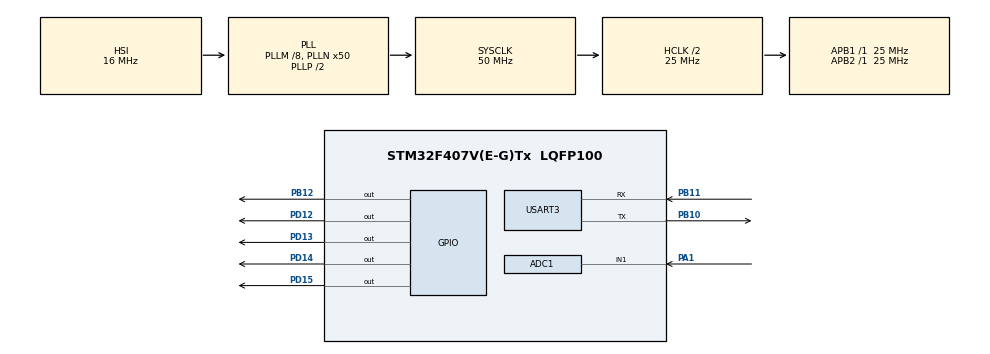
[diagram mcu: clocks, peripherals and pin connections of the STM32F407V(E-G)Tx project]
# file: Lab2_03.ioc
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ADC1.Channel-2\#ChannelRegularConversion=ADC_CHANNEL_1
ADC1.NbrOfConversionFlag=1
ADC1.Rank-2\#ChannelRegularConversion=1
ADC1.Resolution=ADC_RESOLUTION_10B
ADC1.SamplingTime-2\#ChannelRegularConversion=ADC_SAMPLETIME_3CYCLES
ADC1.master=1
Mcu.Family=STM32F4
Mcu.Name=STM32F407V(E-G)Tx
Mcu.Package=LQFP100
NVIC.PriorityGroup=NVIC_PRIORITYGROUP_4
PA1.Signal=ADCx_IN1
PB10.Mode=Asynchronous
PB10.Signal=USART3_TX
PB11.Mode=Asynchronous
PB11.Signal=USART3_RX
PB12.Signal=GPIO_Output
PD12.Signal=GPIO_Output
PD13.Signal=GPIO_Output
PD14.Signal=GPIO_Output
PD15.Signal=GPIO_Output
ProjectManager.HeapSize=0x200
ProjectManager.StackSize=0x400
ProjectManager.TargetToolchain=STM32CubeIDE
RCC.48MHZClocksFreq_Value=25000000
RCC.AHBCLKDivider=RCC_SYSCLK_DIV2
RCC.AHBFreq_Value=25000000
RCC.APB1Freq_Value=25000000
RCC.APB1TimFreq_Value=25000000
RCC.APB2Freq_Value=25000000
RCC.APB2TimFreq_Value=25000000
RCC.CortexFreq_Value=25000000
RCC.HCLKFreq_Value=25000000
RCC.HSE_VALUE=25000000
RCC.HSI_VALUE=16000000
RCC.LSE_VALUE=32768
RCC.PLLM=8
RCC.PLLN=50
RCC.SYSCLKFreq_VALUE=50000000
RCC.SYSCLKSource=RCC_SYSCLKSOURCE_PLLCLK
RCC.VCOOutputFreq_Value=100000000
SH.ADCx_IN1.0=ADC1_IN1,IN1
USART3.VirtualMode=VM_ASYNC
board=STM32F407G-DISC1

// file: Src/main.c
/* USER CODE BEGIN Header */
/**
  ******************************************************************************
  * @file           : main.c
  * @brief          : Main program body
  ******************************************************************************
  * @attention
  *
  * <h2><center>&copy; Copyright (c) 2019 STMicroelectronics.
  * All rights reserved.</center></h2>
  *
  * This software component is licensed by ST under BSD 3-Clause license,
  * the "License"; You may not use this file except in compliance with the
  * License. You may obtain a copy of the License at:
  *                        opensource.org/licenses/BSD-3-Clause
  *
  ******************************************************************************
  */
/* USER CODE END Header */

#include "main.h"

ADC_HandleTypeDef hadc1;

UART_HandleTypeDef huart3;

void SystemClock_Config(void);
static void MX_GPIO_Init(void);
static void MX_ADC1_Init(void);
static void MX_USART3_UART_Init(void);

int main(void)
{
  /* USER CODE BEGIN 1 */
	DWT_Init();

  /* USER CODE END 1 */

  /* MCU Configuration--------------------------------------------------------*/

  /* Reset of all peripherals, Initializes the Flash interface and the Systick. */
  HAL_Init();

  /* Configure the system clock */
  SystemClock_Config();

  /* Initialize all configured peripherals */
  MX_GPIO_Init();
  MX_ADC1_Init();
  MX_USART3_UART_Init();

  /* Infinite loop */
  /* USER CODE BEGIN WHILE */
  int value = -1;
  int size;
  char buf[30];
  long long iter = 0;
  int acc = 0;
  HAL_GPIO_WritePin(GPIOB, GPIO_PIN_12, SET);
  while (1)
  {
	  HAL_GPIO_WritePin(GPIOB, GPIO_PIN_12, RESET);
	  DWT_Delay(280);
	  HAL_ADC_Start(&hadc1);
	  if(HAL_ADC_PollForConversion(&hadc1, 1000) == HAL_OK){
		  value = HAL_ADC_GetValue(&hadc1);
		  acc += value;
		  iter++;
		  if(iter % 100 == 0){
			  acc /= 100;
			  size = sprintf(buf, "<%d>", value);
			  HAL_UART_Transmit(&huart3, buf, size, 1000);
			  acc = 0;
		  }
	  }
	  DWT_Delay(40);
	  HAL_GPIO_WritePin(GPIOB, GPIO_PIN_12, SET);
	  DWT_Delay(9680);

	  //HAL_GPIO_TogglePin(GPIOD, GPIO_PIN_14);
    /* USER CODE END WHILE */

  }
}

void SystemClock_Config(void)
{
  RCC_OscInitTypeDef RCC_OscInitStruct = {0};
  RCC_ClkInitTypeDef RCC_ClkInitStruct = {0};

  /** Configure the main internal regulator output voltage
  */
  __HAL_RCC_PWR_CLK_ENABLE();
  __HAL_PWR_VOLTAGESCALING_CONFIG(PWR_REGULATOR_VOLTAGE_SCALE1);
  /** Initializes the CPU, AHB and APB busses clocks
  */
  RCC_OscInitStruct.OscillatorType = RCC_OSCILLATORTYPE_HSI;
  RCC_OscInitStruct.HSIState = RCC_HSI_ON;
  RCC_OscInitStruct.HSICalibrationValue = RCC_HSICALIBRATION_DEFAULT;
  RCC_OscInitStruct.PLL.PLLState = RCC_PLL_ON;
  RCC_OscInitStruct.PLL.PLLSource = RCC_PLLSOURCE_HSI;
  RCC_OscInitStruct.PLL.PLLM = 8;
  RCC_OscInitStruct.PLL.PLLN = 50;
  RCC_OscInitStruct.PLL.PLLP = RCC_PLLP_DIV2;
  RCC_OscInitStruct.PLL.PLLQ = 4;
  if (HAL_RCC_OscConfig(&RCC_OscInitStruct) != HAL_OK)
  {
    Error_Handler();
  }
  /** Initializes the CPU, AHB and APB busses clocks
  */
  RCC_ClkInitStruct.ClockType = RCC_CLOCKTYPE_HCLK|RCC_CLOCKTYPE_SYSCLK
                              |RCC_CLOCKTYPE_PCLK1|RCC_CLOCKTYPE_PCLK2;
  RCC_ClkInitStruct.SYSCLKSource = RCC_SYSCLKSOURCE_PLLCLK;
  RCC_ClkInitStruct.AHBCLKDivider = RCC_SYSCLK_DIV2;
  RCC_ClkInitStruct.APB1CLKDivider = RCC_HCLK_DIV1;
  RCC_ClkInitStruct.APB2CLKDivider = RCC_HCLK_DIV1;

  if (HAL_RCC_ClockConfig(&RCC_ClkInitStruct, FLASH_LATENCY_0) != HAL_OK)
  {
    Error_Handler();
  }
}

static void MX_ADC1_Init(void)
{

  ADC_ChannelConfTypeDef sConfig = {0};

  /** Configure the global features of the ADC (Clock, Resolution, Data Alignment and number of conversion)
  */
  hadc1.Instance = ADC1;
  hadc1.Init.ClockPrescaler = ADC_CLOCK_SYNC_PCLK_DIV2;
  hadc1.Init.Resolution = ADC_RESOLUTION_10B;
  hadc1.Init.ScanConvMode = DISABLE;
  hadc1.Init.ContinuousConvMode = DISABLE;
  hadc1.Init.DiscontinuousConvMode = DISABLE;
  hadc1.Init.ExternalTrigConvEdge = ADC_EXTERNALTRIGCONVEDGE_NONE;
  hadc1.Init.ExternalTrigConv = ADC_SOFTWARE_START;
  hadc1.Init.DataAlign = ADC_DATAALIGN_RIGHT;
  hadc1.Init.NbrOfConversion = 1;
  hadc1.Init.DMAContinuousRequests = DISABLE;
  hadc1.Init.EOCSelection = ADC_EOC_SINGLE_CONV;
  if (HAL_ADC_Init(&hadc1) != HAL_OK)
  {
    Error_Handler();
  }
  /** Configure for the selected ADC regular channel its corresponding rank in the sequencer and its sample time.
  */
  sConfig.Channel = ADC_CHANNEL_1;
  sConfig.Rank = 1;
  sConfig.SamplingTime = ADC_SAMPLETIME_3CYCLES;
  if (HAL_ADC_ConfigChannel(&hadc1, &sConfig) != HAL_OK)
  {
    Error_Handler();
  }

}

static void MX_USART3_UART_Init(void)
{

  huart3.Instance = USART3;
  huart3.Init.BaudRate = 115200;
  huart3.Init.WordLength = UART_WORDLENGTH_8B;
  huart3.Init.StopBits = UART_STOPBITS_1;
  huart3.Init.Parity = UART_PARITY_NONE;
  huart3.Init.Mode = UART_MODE_TX_RX;
  huart3.Init.HwFlowCtl = UART_HWCONTROL_NONE;
  huart3.Init.OverSampling = UART_OVERSAMPLING_16;
  if (HAL_UART_Init(&huart3) != HAL_OK)
  {
    Error_Handler();
  }

}

static void MX_GPIO_Init(void)
{
  GPIO_InitTypeDef GPIO_InitStruct = {0};

  /* GPIO Ports Clock Enable */
  __HAL_RCC_GPIOA_CLK_ENABLE();
  __HAL_RCC_GPIOB_CLK_ENABLE();
  __HAL_RCC_GPIOD_CLK_ENABLE();

  /*Configure GPIO pin Output Level */
  HAL_GPIO_WritePin(GPIOB, GPIO_PIN_12, GPIO_PIN_RESET);

  /*Configure GPIO pin Output Level */
  HAL_GPIO_WritePin(GPIOD, GPIO_PIN_12|GPIO_PIN_13|GPIO_PIN_14|GPIO_PIN_15, GPIO_PIN_RESET);

  /*Configure GPIO pin : PB12 */
  GPIO_InitStruct.Pin = GPIO_PIN_12;
  GPIO_InitStruct.Mode = GPIO_MODE_OUTPUT_PP;
  GPIO_InitStruct.Pull = GPIO_NOPULL;
  GPIO_InitStruct.Speed = GPIO_SPEED_FREQ_LOW;
  HAL_GPIO_Init(GPIOB, &GPIO_InitStruct);

  /*Configure GPIO pins : PD12 PD13 PD14 PD15 */
  GPIO_InitStruct.Pin = GPIO_PIN_12|GPIO_PIN_13|GPIO_PIN_14|GPIO_PIN_15;
  GPIO_InitStruct.Mode = GPIO_MODE_OUTPUT_PP;
  GPIO_InitStruct.Pull = GPIO_NOPULL;
  GPIO_InitStruct.Speed = GPIO_SPEED_FREQ_LOW;
  HAL_GPIO_Init(GPIOD, &GPIO_InitStruct);

}

void Error_Handler(void)
{
}

/************************ (C) COPYRIGHT STMicroelectronics *****END OF FILE****/
